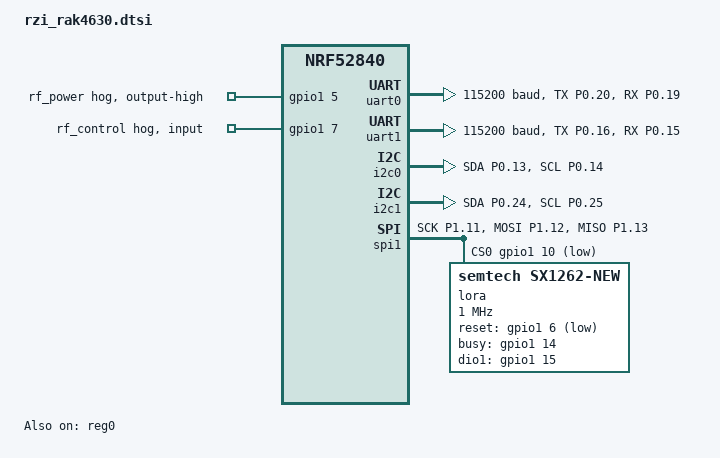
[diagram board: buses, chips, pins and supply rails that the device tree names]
/* SPDX-FileCopyrightText: Copyright (c) 2026 RAKwireless */
/* SPDX-License-Identifier: Apache-2.0 */
/*
 * RAK4630 WisDuo module: nRF52840, the SX1262 on SPI1, and the pinmux of
 * the module pads. The pad peripherals (UART, I2C) are configured but left
 * disabled; the carrier board enables the ones it wires and adds LEDs,
 * USB, external flash, and the partition map.
 */

#include <nordic/nrf52840_qiaa.dtsi>
#include <zephyr/dt-bindings/gpio/gpio.h>
#include <zephyr/dt-bindings/lora/sx126x.h>
#include <zephyr/dt-bindings/usp/sx126x.h>

&pinctrl {
	uart0_default: uart0_default {
		group1 {
			psels = <NRF_PSEL(UART_TX, 0, 20)>,
				<NRF_PSEL(UART_RX, 0, 19)>;
		};
	};

	uart0_sleep: uart0_sleep {
		group1 {
			psels = <NRF_PSEL(UART_TX, 0, 20)>,
				<NRF_PSEL(UART_RX, 0, 19)>;
			low-power-enable;
		};
	};

	uart1_default: uart1_default {
		group1 {
			psels = <NRF_PSEL(UART_TX, 0, 16)>,
				<NRF_PSEL(UART_RX, 0, 15)>;
		};
	};

	uart1_sleep: uart1_sleep {
		group1 {
			psels = <NRF_PSEL(UART_TX, 0, 16)>,
				<NRF_PSEL(UART_RX, 0, 15)>;
			low-power-enable;
		};
	};

	i2c0_default: i2c0_default {
		group1 {
			psels = <NRF_PSEL(TWIM_SDA, 0, 13)>,
				<NRF_PSEL(TWIM_SCL, 0, 14)>;
		};
	};

	i2c0_sleep: i2c0_sleep {
		group1 {
			psels = <NRF_PSEL(TWIM_SDA, 0, 13)>,
				<NRF_PSEL(TWIM_SCL, 0, 14)>;
			low-power-enable;
		};
	};

	i2c1_default: i2c1_default {
		group1 {
			psels = <NRF_PSEL(TWIM_SDA, 0, 24)>,
				<NRF_PSEL(TWIM_SCL, 0, 25)>;
		};
	};

	i2c1_sleep: i2c1_sleep {
		group1 {
			psels = <NRF_PSEL(TWIM_SDA, 0, 24)>,
				<NRF_PSEL(TWIM_SCL, 0, 25)>;
			low-power-enable;
		};
	};

	spi1_default: spi1_default {
		group1 {
			psels = <NRF_PSEL(SPIM_SCK, 1, 11)>,
				<NRF_PSEL(SPIM_MOSI, 1, 12)>,
				<NRF_PSEL(SPIM_MISO, 1, 13)>;
		};
	};

	spi1_sleep: spi1_sleep {
		group1 {
			psels = <NRF_PSEL(SPIM_SCK, 1, 11)>,
				<NRF_PSEL(SPIM_MOSI, 1, 12)>,
				<NRF_PSEL(SPIM_MISO, 1, 13)>;
			low-power-enable;
		};
	};
};

&reg0 {
	status = "okay";
};

&reg1 {
	regulator-initial-mode = <NRF5X_REG_MODE_DCDC>;
};

&uicr {
	gpio-as-nreset;
};

&gpiote {
	status = "okay";
};

&gpio0 {
	status = "okay";
};

&gpio1 {
	status = "okay";
	/* DIO1 is P1.15. Edge events use the low-power sense path. A GPIOTE
	 * IN channel is the high-accuracy mode and keeps the 32 MHz domain on.
	 */
	sense-edge-mask = <0x8000>;

	rf_power: rf-power {
		gpio-hog;
		gpios = <5 GPIO_ACTIVE_HIGH>;
		output-high;
	};

	rf_control: rf-control {
		gpio-hog;
		gpios = <7 GPIO_ACTIVE_HIGH>;
		input;
	};
};

&uart0 {
	compatible = "nordic,nrf-uart";
	current-speed = <115200>;
	pinctrl-0 = <&uart0_default>;
	pinctrl-1 = <&uart0_sleep>;
	pinctrl-names = "default", "sleep";
};

&uart1 {
	compatible = "nordic,nrf-uarte";
	current-speed = <115200>;
	pinctrl-0 = <&uart1_default>;
	pinctrl-1 = <&uart1_sleep>;
	pinctrl-names = "default", "sleep";
};

&i2c0 {
	compatible = "nordic,nrf-twi";
	pinctrl-0 = <&i2c0_default>;
	pinctrl-1 = <&i2c0_sleep>;
	pinctrl-names = "default", "sleep";
};

&i2c1 {
	compatible = "nordic,nrf-twi";
	pinctrl-0 = <&i2c1_default>;
	pinctrl-1 = <&i2c1_sleep>;
	pinctrl-names = "default", "sleep";
};

&spi1 {
	compatible = "nordic,nrf-spi";
	status = "okay";
	cs-gpios = <&gpio1 10 GPIO_ACTIVE_LOW>;
	pinctrl-0 = <&spi1_default>;
	pinctrl-1 = <&spi1_sleep>;
	pinctrl-names = "default", "sleep";

	lora: lora@0 {
		compatible = "semtech,sx1262-new";
		reg = <0>;
		reset-gpios = <&gpio1 6 GPIO_ACTIVE_LOW>;
		busy-gpios = <&gpio1 14 GPIO_ACTIVE_HIGH>;
		dio1-gpios = <&gpio1 15 (GPIO_ACTIVE_HIGH | GPIO_PULL_DOWN)>;
		dio2-as-rf-switch;
		dio3-as-tcxo-control;
		tcxo-voltage = <SX126X_TCXO_SUPPLY_1_8V>;
		tcxo-wakeup-time = <5>;
		reg-mode = <SX126X_REG_MODE_DCDC>;
		/* SX1262 PA table, one entry per dBm from -9 to 22. */
		tx-power-cfg =
			<(  1) 0x01 0x01>,
			<(  4) 0x00 0x01>,
			<(  4) 0x01 0x01>,
			<(  7) 0x00 0x01>,
			<(  2) 0x00 0x02>,
			<(  7) 0x03 0x01>,
			<(  8) 0x03 0x01>,
			<(  9) 0x03 0x01>,
			<( 13) 0x00 0x01>,
			<( 16) 0x00 0x01>,
			<( 19) 0x00 0x01>,
			<( 20) 0x00 0x01>,
			<( 18) 0x03 0x01>,
			<( 21) 0x00 0x01>,
			<( 16) 0x00 0x02>,
			<( 22) 0x00 0x01>,
			<( 22) 0x01 0x01>,
			<( 22) 0x02 0x01>,
			<( 22) 0x03 0x01>,
			<( 22) 0x04 0x01>,
			<( 22) 0x00 0x02>,
			<( 22) 0x01 0x02>,
			<( 22) 0x02 0x02>,
			<( 22) 0x03 0x02>,
			<( 22) 0x01 0x03>,
			<( 22) 0x02 0x03>,
			<( 22) 0x00 0x05>,
			<( 22) 0x01 0x05>,
			<( 22) 0x02 0x05>,
			<( 22) 0x03 0x06>,
			<( 22) 0x04 0x06>,
			<( 22) 0x04 0x07>;
		spi-max-frequency = <1000000>;
	};
};
